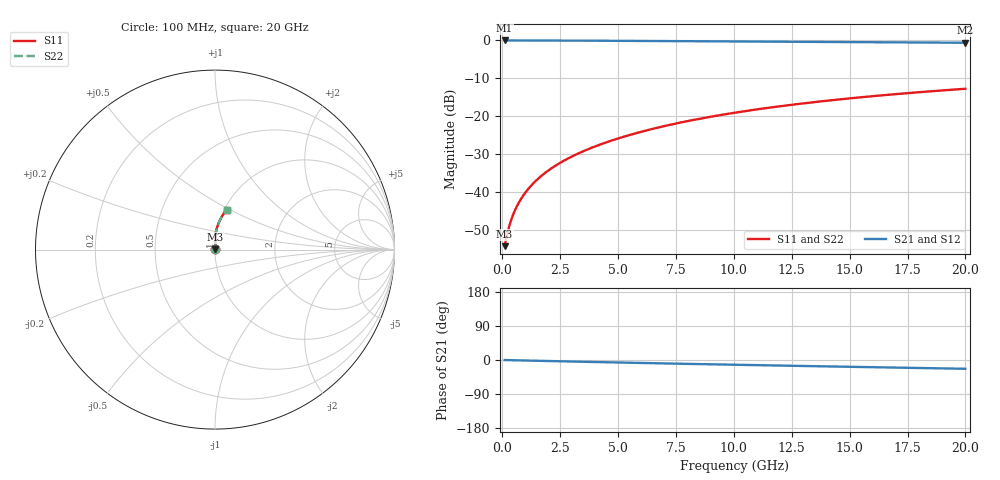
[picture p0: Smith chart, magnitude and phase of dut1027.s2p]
! Touchstone file exported from HFSS 2024.1.0
!  File:  C:/UserFiles/LocalFiles/RDL_TSV_Batchsim/temp_RDL_top_1027_1780043469.aedt
!  Generated:  04:33:40 PM May 29, 2026
!  Design:  RDL_top
!  Project:  temp_RDL_top_1027_1780043469
!  Setup:  Setup1
!  Solution:  Sweep
! Variables:
!  dtsv = 10.80580581um
!  hbump = 3um
!  htsv = 98.53um
!  ldown = 100um
!  lrdl = 298.21um
!  p = 40
!  p1 = 53.21um
!  rhole = 1um
!  t = 450um
!  tdown = 3.915915916um
!  trdl = 3.05um
!  wdown = 15.38538539um
!  wrdl = 25.76um
# GHz S MA R 50.000000
! Terminal data exported
! Port[1] = Box2_T1
! Port[2] = Box2_T2
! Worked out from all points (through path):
!   200 points, 100 MHz to 20 GHz, reference 50 ohm
!   highest |S21| = -0.01 dB at 100 MHz (marker M1); lowest = -0.6 dB at 20 GHz (marker M2)
!   group delay of S21, straight-line fit = 3.18 ps
!   lowest |S11| = -54.2 dB at 100 MHz (marker M3), VSWR 1.00, Z = 50.2 + j0.108 ohm
!   |S11| at or under -10 dB: start of sweep to end of sweep
!   |S22| runs from -54.2 to -12.7 dB; largest |S21 - S12| = 3.5e-15
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0.1  0.001941 33.5  0.9984 -0.1  0.9984 -0.1  0.001941 33.5
! Gamma 0 0 0 0
! Port Impedance 50 0 50 0
0.2  0.002701 51.3  0.9983 -0.3  0.9983 -0.3  0.002701 51.3
0.3  0.003567 60.3  0.9982 -0.4  0.9982 -0.4  0.003567 60.3
0.4  0.004453 65.7  0.9981 -0.6  0.9981 -0.6  0.004453 65.7
0.5  0.005343 69.5  0.998 -0.7  0.998 -0.7  0.005343 69.5
0.6  0.006238 72.2  0.9979 -0.8  0.9979 -0.8  0.006238 72.2
0.8  0.008049 76.2  0.9977 -1.1  0.9977 -1.1  0.008049 76.2
1.1  0.01082 80.0  0.9973 -1.5  0.9973 -1.5  0.01082 80.0
1.3  0.01269 81.7  0.9971 -1.8  0.9971 -1.8  0.01269 81.7
1.6  0.01554 83.6  0.9967 -2.2  0.9967 -2.2  0.01554 83.6
2.1  0.0204 85.7  0.9958 -2.9  0.9958 -2.9  0.0204 85.7
2.7  0.02638 87.2  0.9945 -3.7  0.9945 -3.7  0.02638 87.2
3.5  0.03465 88.5  0.9924 -4.7  0.9924 -4.7  0.03465 88.5
4.2  0.04215 89.1  0.9903 -5.6  0.9903 -5.6  0.04215 89.1
5  0.05101 89.3  0.9877 -6.6  0.9877 -6.6  0.05101 89.3
6.8  0.0719 88.8  0.9811 -8.8  0.9811 -8.8  0.0719 88.8
8.4  0.09123 87.6  0.975 -10.7  0.975 -10.7  0.09123 87.6
10.1  0.1121 85.9  0.9685 -12.6  0.9685 -12.6  0.1122 85.9
11.7  0.1319 84.0  0.9625 -14.4  0.9625 -14.4  0.1319 84.0
13.4  0.1528 81.9  0.9561 -16.2  0.9561 -16.2  0.1528 81.9
16.7  0.1924 77.8  0.9439 -19.8  0.9439 -19.8  0.1924 77.8
20  0.2305 73.8  0.9316 -23.2  0.9316 -23.2  0.2305 73.8
